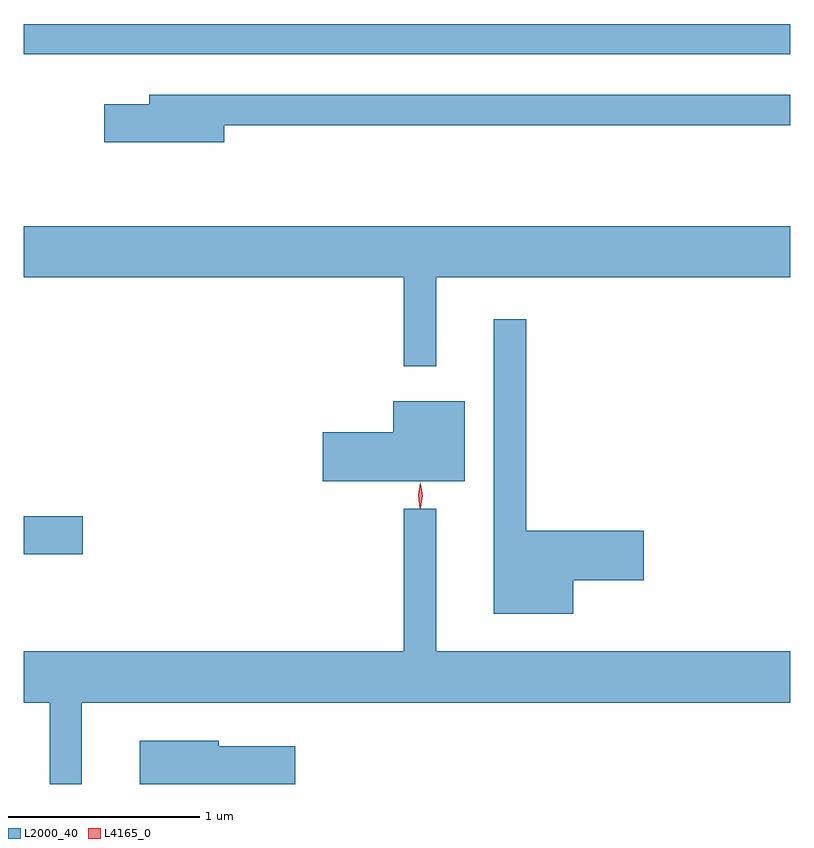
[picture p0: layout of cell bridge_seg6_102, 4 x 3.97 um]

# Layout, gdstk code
import gdstk
lib = gdstk.Library(unit=1e-6, precision=1e-09)
def R(c, l, rs):  # rectangles x0, y0, x1, y1
    for r in rs: c.add(gdstk.rectangle(r[:2], r[2:], *l))
def P(c, l, *ps):  # polygons
    for p in ps: c.add(gdstk.Polygon(p, *l))
L2000_40 = (2000, 40)
L4165_0 = (4165, 0)

bridge_seg6_102 = lib.new_cell('bridge_seg6_102')
R(bridge_seg6_102, L2000_40, [(1136.517,1652.931,1136.824,1653.129), (1136.517,1655.541,1140.517,1655.699)])
P(bridge_seg6_102, L2000_40, [(1137.564,1655.171),(1140.517,1655.171),(1140.517,1655.329),(1137.171,1655.329),(1137.171,1655.279),(1136.936,1655.279),(1136.936,1655.081),(1137.564,1655.081)],
  [(1138.669,1654.376),(1140.517,1654.376),(1140.517,1654.644),(1136.517,1654.644),(1136.517,1654.376),(1138.501,1654.376),(1138.501,1653.913),(1138.669,1653.913)],
  [(1139.384,1652.796),(1139.754,1652.796),(1139.754,1653.054),(1139.139,1653.054),(1139.139,1654.158),(1138.971,1654.158),(1138.971,1652.621),(1139.384,1652.621)],
  [(1138.819,1653.729),(1138.446,1653.729),(1138.446,1653.569),(1138.076,1653.569),(1138.076,1653.311),(1138.819,1653.311)],
  [(1136.819,1652.156),(1140.517,1652.156),(1140.517,1652.424),(1138.669,1652.424),(1138.669,1653.168),(1138.501,1653.168),(1138.501,1652.424),(1136.517,1652.424),(1136.517,1652.156),(1136.651,1652.156),(1136.651,1651.732),(1136.819,1651.732)],
  [(1137.934,1651.929),(1137.534,1651.929),(1137.534,1651.959),(1137.121,1651.959),(1137.121,1651.732),(1137.934,1651.732)])
P(bridge_seg6_102, L4165_0, [(1138.584,1653.17),(1138.576,1653.238),(1138.586,1653.305),(1138.586,1653.306),(1138.587,1653.305),(1138.596,1653.238),(1138.585,1653.17),(1138.585,1653.17)],
  [(1138.589,1653.173),(1138.589,1653.174),(1138.579,1653.236),(1138.589,1653.299),(1138.589,1653.3),(1138.59,1653.299),(1138.599,1653.236),(1138.59,1653.174)])

lib.write_gds('bridge_seg6_102.gds')
